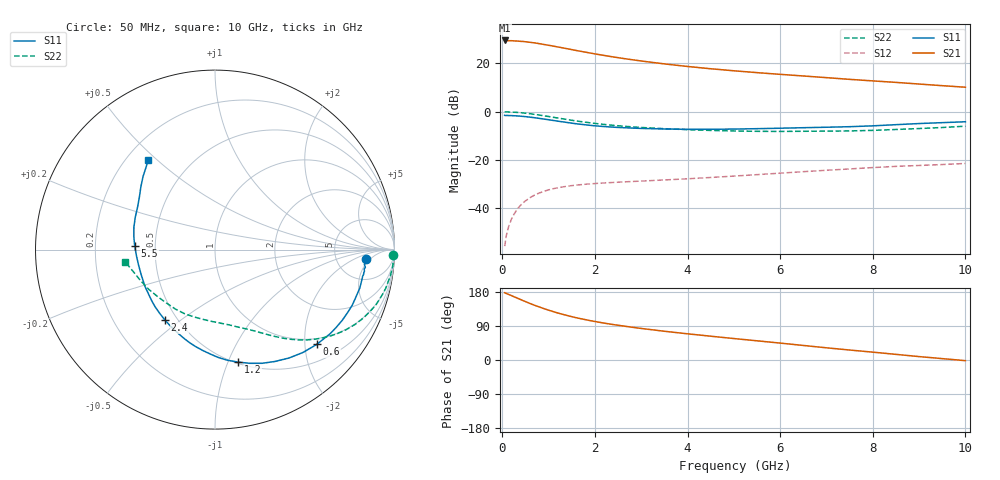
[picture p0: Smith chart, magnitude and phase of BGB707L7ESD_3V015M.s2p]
!  Infineon Technologies AG
!  BGB707L7ESD
!  Vce = 3.0V, Ic = 15.0mA
!  DATUM: 30.06.2009 10:18:26
# GHz  S  MA  R  50
!f  S11  S21  S12  S22
!GHz  Mag  Ang  Mag  Ang  Mag  Ang  Mag  Ang
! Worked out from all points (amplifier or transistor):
!   52 points, 50 MHz to 10 GHz, reference 50 ohm
!   highest |S21| = 29.5 dB at 60 MHz (marker M1)
!   |S21| within 3 dB of that: start of sweep to 1.286 GHz
!   unconditionally stable (mu >= 1): 4.769 GHz to 8.879 GHz
!   at 130 MHz: K = 0.04, MSG = 38.8 dB, |S12| = -48.1 dB
!   at 1.4 GHz: K = 0.36, MSG = 28.5 dB, |S12| = -30.8 dB
!   at 10 GHz: K = 0.93, MSG = 15.8 dB, |S12| = -21.4 dB
!   S11 on the Smith chart (normalised r, x): 50 MHz: 11, -4; 600 MHz: 0.86, -2.27; 1.2 GHz: 0.51, -1.09; 2.4 GHz: 0.43, -0.44; 5.5 GHz: 0.38, +0.02; 10 GHz: 0.29, +0.47
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0.05  0.8449 -3.4  29.46 177.5  0.001656 76.4  0.9948 -1.6
0.06  0.8414 -4.6  29.99 176.9  0.001795 91.2  0.9956 -2.1
0.08  0.8363 -5.7  29.51 175.8  0.002566 88.4  0.996 -3.1
0.09  0.8436 -6.7  29.77 175.8  0.002816 87.3  0.9958 -3.6
0.13  0.8393 -9.5  29.77 173.4  0.003948 83.8  0.9944 -5.5
0.3  0.825 -22.1  29.26 164.6  0.008927 78.8  0.9757 -12.7
0.45  0.8025 -32.7  28.54 156.6  0.01311 72.8  0.9483 -18.8
0.6  0.7749 -42.9  27.45 149.0  0.01675 67.7  0.912 -24.6
0.7  0.7539 -49.5  26.68 144.3  0.01896 64.6  0.8852 -28.1
0.9  0.7075 -61.7  24.78 135.5  0.02264 59.1  0.8278 -34.4
1.2  0.6403 -78.3  21.97 124.0  0.02682 52.5  0.7434 -42.3
1.5  0.5822 -92.7  19.39 114.3  0.02968 47.8  0.6687 -48.6
1.8  0.5379 -105.2  17.14 106.4  0.03171 44.8  0.6086 -53.6
2  0.5129 -112.7  15.81 101.6  0.03274 43.4  0.5755 -56.5
2.4  0.4809 -125.6  13.65 93.4  0.03451 41.9  0.5245 -61.6
2.8  0.4609 -136.6  11.99 86.4  0.0361 41.5  0.4886 -66.3
3.5  0.4411 -151.9  9.805 75.8  0.03886 42.2  0.4475 -74.1
4.5  0.4346 -168.6  7.783 62.8  0.04373 44.5  0.4118 -85.3
5.5  0.4476 177.5  6.469 50.6  0.05005 46.3  0.3946 -99.2
7  0.4794 157.9  5.093 32.2  0.06167 46.2  0.3981 -123.6
8.5  0.5418 139.6  4.064 14.9  0.07421 43.0  0.4308 -149.2
10  0.6227 126.6  3.229 -1.7  0.08525 39.1  0.5044 -172.1
